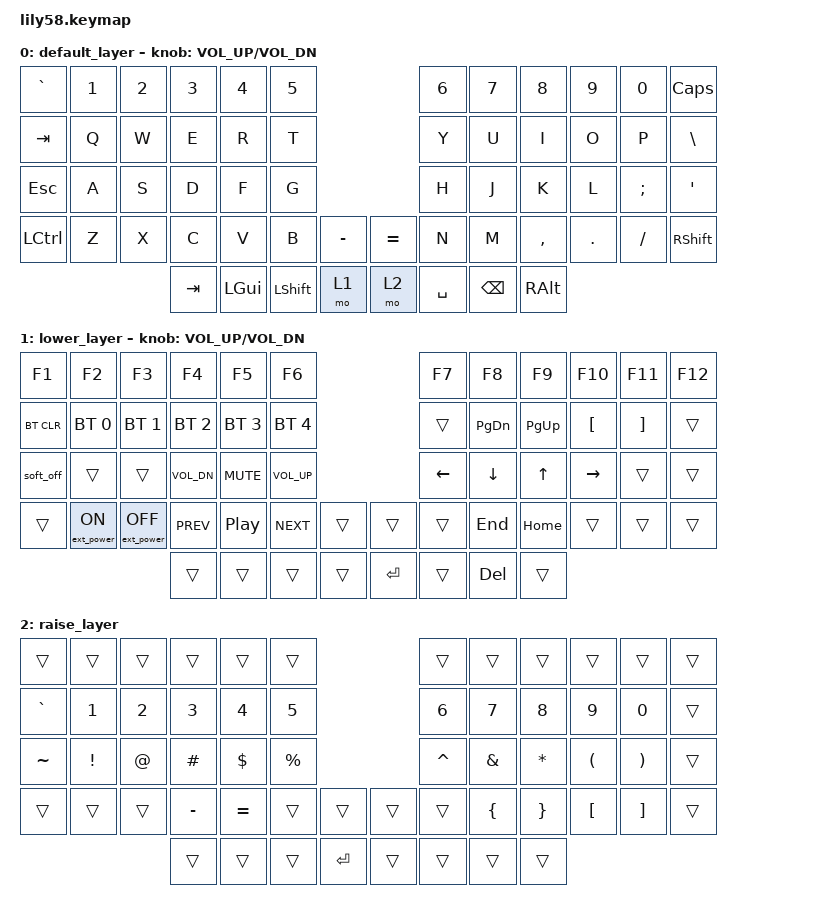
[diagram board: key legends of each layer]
/*
 * Copyright (c) 2020 The ZMK Contributors
 *
 * SPDX-License-Identifier: MIT
 */

#include <behaviors.dtsi>
#include <dt-bindings/zmk/keys.h>
#include <dt-bindings/zmk/bt.h>
#include <dt-bindings/zmk/ext_power.h>

/ {
    behaviors {
        lt: layer_tap {
            compatible = "zmk,behavior-hold-tap";
            flavor = "hold-preferred";
            tapping-term-ms = <200>;
            bindings = <&mo>, <&kp>;
        };
    };
};

/ {
    keymap {
        compatible = "zmk,keymap";

        default_layer {
            bindings = <
&kp GRAVE &kp N1 &kp N2 &kp N3   &kp N4   &kp N5                            &kp N6 &kp N7   &kp N8    &kp N9  &kp N0   &kp CAPS
&kp TAB   &kp Q  &kp W  &kp E    &kp R    &kp T                             &kp Y  &kp U    &kp I     &kp O   &kp P    &kp BSLH
&kp ESC   &kp A  &kp S  &kp D    &kp F    &kp G                             &kp H  &kp J    &kp K     &kp L   &kp SEMI &kp SQT
&kp LCTRL &kp Z  &kp X  &kp C    &kp V    &kp B       &kp MINUS   &kp EQUAL &kp N  &kp M    &kp COMMA &kp DOT &kp FSLH &kp RSHFT
                        &kp TAB &kp LGUI &kp LSHIFT  &mo 1       &mo 2 &kp SPACE       &kp BSPC  &kp RALT
            >;

            sensor-bindings = <&inc_dec_kp C_VOL_UP C_VOL_DN>;
        };

        lower_layer {
            bindings = <
&kp F1     &kp F2           &kp F3            &kp F4            &kp F5       &kp F6                       &kp F7    &kp F8    &kp F9    &kp F10   &kp F11  &kp F12
&bt BT_CLR &bt BT_SEL 0     &bt BT_SEL 1      &bt BT_SEL 2      &bt BT_SEL 3 &bt BT_SEL 4                 &trans    &kp PG_DN &kp PG_UP &kp LBKT     &kp RBKT    &trans
&soft_off     &trans           &trans            &kp C_VOL_DN      &kp C_MUTE       &kp C_VOL_UP                       &kp LEFT  &kp DOWN  &kp UP    &kp RIGHT &trans   &trans
&trans     &ext_power EP_ON &ext_power EP_OFF &kp C_PREV &kp C_PP       &kp C_NEXT    &trans   &trans    &trans    &kp END   &kp HOME  &trans    &trans   &trans
                                              &trans            &trans       &trans    &trans   &kp RET    &trans    &kp DEL    &trans
            >;

            sensor-bindings = <&inc_dec_kp C_VOL_UP C_VOL_DN>;
        };

        raise_layer {
            bindings = <
&trans &trans  &trans &trans   &trans &trans            &trans &trans &trans &trans &trans &trans
&kp GRAVE &kp N1  &kp N2 &kp N3   &kp N4 &kp N5         &kp N6 &kp N7 &kp N8 &kp N9 &kp N0 &trans
&kp TILDE &kp EXCL  &kp AT &kp HASH   &kp DOLLAR &kp PERCENT      &kp CARET &kp AMPS &kp STAR &kp LPAR &kp RPAR &trans
&trans &trans  &trans &kp MINUS   &kp EQUAL &trans &trans     &trans &trans &kp LBRC &kp RBRC &kp LBKT &kp RBKT &trans
               &trans &trans   &trans &kp RET            &trans &trans &trans &trans
            >;
        };
    };
};
